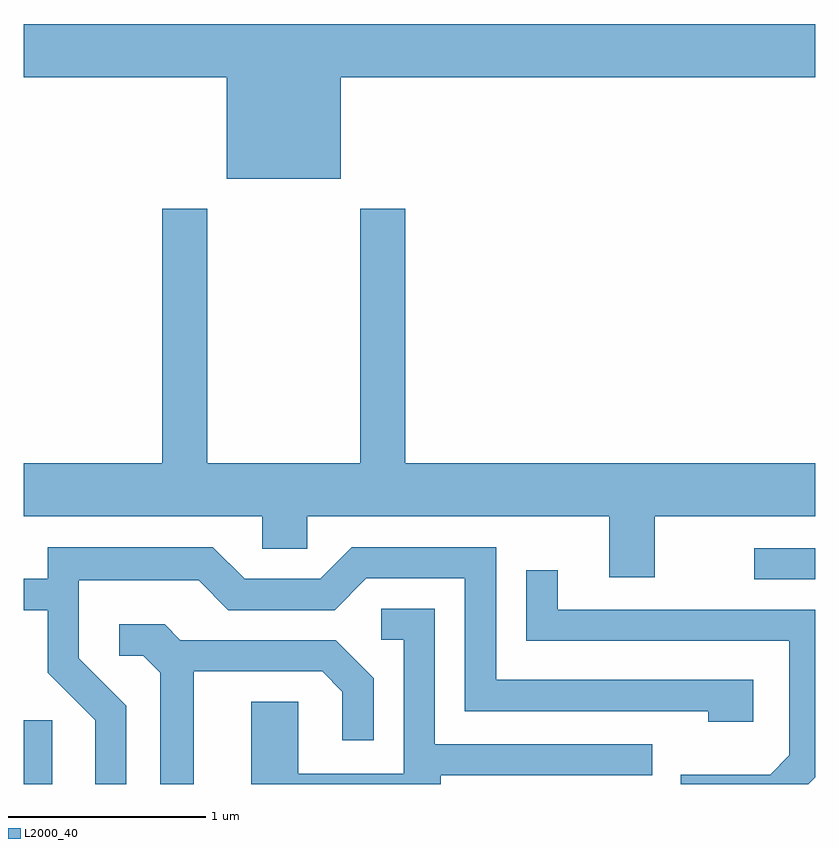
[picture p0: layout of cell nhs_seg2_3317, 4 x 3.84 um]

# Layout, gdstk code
import gdstk
lib = gdstk.Library(unit=1e-6, precision=1e-09)
def R(c, l, rs):  # rectangles x0, y0, x1, y1
    for r in rs: c.add(gdstk.rectangle(r[:2], r[2:], *l))
def P(c, l, *ps):  # polygons
    for p in ps: c.add(gdstk.Polygon(p, *l))
L2000_40 = (2000, 40)

nhs_seg2_3317 = lib.new_cell('nhs_seg2_3317')
R(nhs_seg2_3317, L2000_40, [(281.611,1095.802,281.754,1096.124), (285.303,1096.836,285.611,1096.994)])
P(nhs_seg2_3317, L2000_40, [(283.214,1099.376),(285.611,1099.376),(285.611,1099.644),(281.611,1099.644),(281.611,1099.376),(282.636,1099.376),(282.636,1098.861),(283.214,1098.861)],
  [(284.799,1097.156),(285.611,1097.156),(285.611,1097.424),(283.539,1097.424),(283.539,1098.709),(283.311,1098.709),(283.311,1097.424),(282.539,1097.424),(282.539,1098.709),(282.311,1098.709),(282.311,1097.424),(281.611,1097.424),(281.611,1097.156),(282.816,1097.156),(282.816,1096.991),(283.044,1096.991),(283.044,1097.156),(284.571,1097.156),(284.571,1096.846),(284.799,1096.846)],
  [(282.129,1096.197),(281.889,1096.437),(281.889,1096.831),(282.494,1096.831),(282.644,1096.681),(283.182,1096.681),(283.342,1096.841),(283.841,1096.841),(283.841,1096.171),(285.071,1096.171),(285.071,1096.116),(285.299,1096.116),(285.299,1096.329),(283.999,1096.329),(283.999,1096.999),(283.269,1096.999),(283.109,1096.839),(282.727,1096.839),(282.567,1096.999),(281.731,1096.999),(281.731,1096.839),(281.611,1096.839),(281.611,1096.681),(281.731,1096.681),(281.731,1096.364),(281.971,1096.124),(281.971,1095.802),(282.129,1095.802)],
  [(285.611,1095.836),(285.611,1096.684),(284.309,1096.684),(284.309,1096.883),(284.151,1096.883),(284.151,1096.526),(285.481,1096.526),(285.481,1095.947),(285.384,1095.849),(284.931,1095.849),(284.931,1095.802),(285.577,1095.802)],
  [(283.719,1095.846),(284.788,1095.846),(284.788,1096.004),(283.689,1096.004),(283.689,1096.689),(283.418,1096.689),(283.418,1096.531),(283.531,1096.531),(283.531,1095.854),(282.999,1095.854),(282.999,1096.219),(282.761,1096.219),(282.761,1095.802),(283.719,1095.802)],
  [(282.469,1096.371),(283.119,1096.371),(283.221,1096.269),(283.221,1096.023),(283.379,1096.023),(283.379,1096.337),(283.187,1096.529),(282.402,1096.529),(282.322,1096.609),(282.093,1096.609),(282.093,1096.451),(282.214,1096.451),(282.301,1096.364),(282.301,1095.802),(282.469,1095.802)])

lib.write_gds('nhs_seg2_3317.gds')
